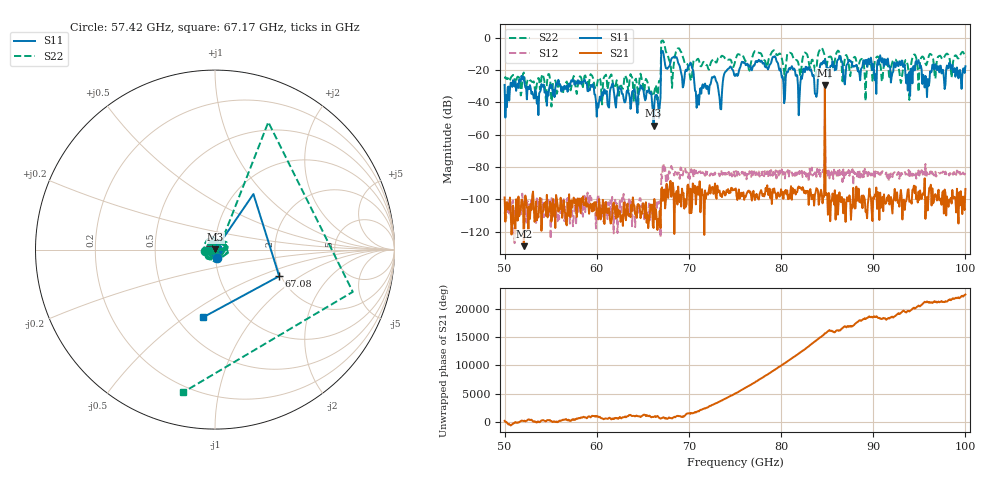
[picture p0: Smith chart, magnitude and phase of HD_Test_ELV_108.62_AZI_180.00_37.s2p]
! 11/25/2026 9:23:41 AM
! C:\ANRITSUVNA\TEMP\TEMP.S2P
! CHANNEL.1
! TR.MEASUREMENT
! RAW.DATA
# HZ S RI R 50.0
! FREQ.HZ  S11RE  S11IM  S21RE  S21IM  S12RE  S12IM  S22RE  S22IM
!; PortSelection: Port_12
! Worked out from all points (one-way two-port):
!   601 points, 50 GHz to 100 GHz, reference 50 ohm
!   highest |S21| = -29.30 dB at 84.75 GHz (marker M1); lowest = -128.9 dB at 52.08 GHz (marker M2)
!   lowest |S11| = -54.4 dB at 66.17 GHz (marker M3), VSWR 1.00, Z = 50.1 + j0.15 ohm
!   |S11| at or under -10 dB: start of sweep to 67 GHz; 67.24 GHz to end of sweep
!   |S22| runs from -42.6 to -1.8 dB; largest |S21 - S12| = 0.034
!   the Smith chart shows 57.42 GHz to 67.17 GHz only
!   S11 on the Smith chart (normalised r, x): 57.42 GHz: 1.02, -0.10; 67.08 GHz: 1.96, -0.68; 67.17 GHz: 0.67, -0.59
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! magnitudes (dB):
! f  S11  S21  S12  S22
! 50 GHz  -29.2  -98.8  -108.9  -25.4
! 52.08 GHz  -24.3  -128.9  -101.8  -21.6
! 53.42 GHz  -35.0  -101.2  -114.6  -32.2
! 57.42 GHz  -26.3  -101.4  -116.6  -25.2
! 58.42 GHz  -27.2  -101.4  -99.5  -29.0
! 60.17 GHz  -43.2  -112.2  -96.8  -24.8
! 66.17 GHz  -54.4  -117.6  -104.3  -35.4
! 66.67 GHz  -41.9  -112.0  -102.6  -32.1
! 67.08 GHz  -8.2  -92.5  -86.9  -1.9
! 67.17 GHz  -8.3  -100.9  -78.6  -1.8
! 70.17 GHz  -15.4  -93.4  -84.9  -25.7
! 70.92 GHz  -40.6  -92.1  -84.1  -13.3
! 75 GHz  -23.7  -93.6  -85.8  -15.0
! 79.25 GHz  -11.8  -93.2  -83.4  -7.9
! 80.25 GHz  -27.5  -99.6  -83.0  -17.6
! 83.42 GHz  -23.8  -97.4  -85.2  -13.7
! 84.75 GHz  -13.6  -29.3  -54.3  -11.8
! 91.67 GHz  -16.7  -97.3  -88.7  -20.4
! 93.75 GHz  -32.7  -93.9  -84.7  -17.3
! 94.83 GHz  -15.0  -101.9  -84.9  -20.3
! 95.83 GHz  -36.8  -98.6  -83.2  -15.9
! 100 GHz  -17.7  -93.5  -83.3  -12.2
